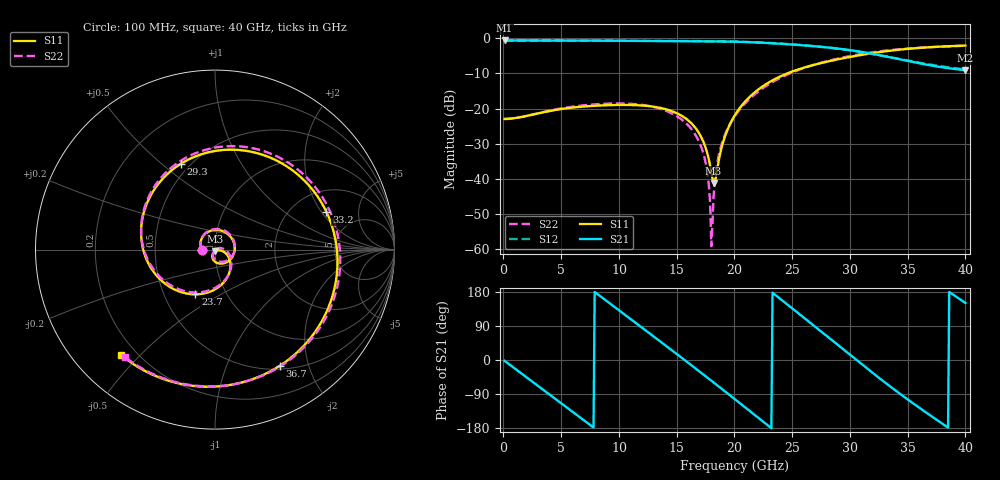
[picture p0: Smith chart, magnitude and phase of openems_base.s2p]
! A_s4_d300_ap600: L1→L4 through L2/L3, drill Ø0.3, antipad Ø0.6, 4 GND vias at 1 mm
! stackup: 4-layer 1.6 mm FR-4
! ports: 1, 2
! openEMS 0.37.0, staircase, base mesh (dfine 0.035 mm), 457125 cells
# Hz S RI R 50
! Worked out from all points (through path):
!   400 points, 100 MHz to 40 GHz, reference 50 ohm
!   highest |S21| = -0.64 dB at 100 MHz (marker M1); lowest = -9.1 dB at 40 GHz (marker M2)
!   group delay of S21, straight-line fit = 65.5 ps
!   lowest |S11| = -41.1 dB at 18.2 GHz (marker M3), VSWR 1.02, Z = 50.2 - j0.846 ohm
!   |S11| at or under -10 dB: start of sweep to 24.59 GHz
!   |S22| runs from -59.1 to -2.2 dB; largest |S21 - S12| = 0.01
!   S11 on the Smith chart (normalised r, x): 100 MHz: 0.87, +0.00; 23.7 GHz: 0.72, -0.39; 29.3 GHz: 0.45, +0.58; 33.2 GHz: 3.04, +2.23; 36.7 GHz: 0.55, -1.57; 40 GHz: 0.14, -0.44
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1e8  -0.0712 0.000483  0.928 -0.037  0.928 -0.037  -0.0709 0.000537
3.6e9  -0.0804 0.0397  0.127 -0.9187  0.1268 -0.9187  -0.0802 0.0417
6.8e9  -0.0334 0.101  -0.8397 -0.387  -0.8396 -0.3868  -0.0338 0.1052
8.6e9  0.025 0.1081  -0.8841 0.2619  -0.8839 0.2617  0.0244 0.1141
1.06e10  0.0899 0.0678  -0.425 0.814  -0.4255 0.8138  0.0898 0.0762
1.34e10  0.0922 -0.0471  0.5486 0.7292  0.5488 0.7306  0.0944 -0.0367
1.53e10  0.0236 -0.0777  0.8986 0.1417  0.9004 0.1421  0.0267 -0.0674
1.71e10  -0.0153 -0.0369  0.7586 -0.4974  0.7599 -0.4986  -0.0128 -0.0262
1.78e10  -0.0078 -0.0167  0.5841 -0.6918  0.585 -0.6932  -0.00558 -0.00529
1.8e10  -0.00316 -0.0121  0.5244 -0.7373  0.5252 -0.7387  -0.001 -0.000472
1.82e10  0.00246 -0.00841  0.4611 -0.7777  0.4618 -0.7791  0.00457 0.00351
1.88e10  0.0239 -0.00393  0.2536 -0.865  0.2541 -0.8665  0.026 0.00892
2.01e10  0.0739 -0.0386  -0.2293 -0.8621  -0.2292 -0.8645  0.0774 -0.0236
2.2e10  0.0553 -0.1743  -0.7586 -0.4232  -0.7622 -0.4257  0.0635 -0.1592
2.37e10  -0.1095 -0.2493  -0.8207 0.1751  -0.8259 0.1779  -0.0998 -0.2388
2.67e10  -0.4082 0.0423  -0.0676 0.7715  -0.0618 0.7742  -0.4067 0.0483
2.93e10  -0.1916 0.4773  0.6001 0.3623  0.5986 0.3579  -0.2024 0.4871
3.12e10  0.2365 0.5369  0.608 -0.1682  0.6048 -0.1647  0.2157 0.5637
3.32e10  0.6211 0.2092  0.247 -0.4881  0.2533 -0.485  0.6142 0.2655
3.34e10  0.6421 0.1592  0.2034 -0.4987  0.2104 -0.4967  0.6387 0.2176
3.67e10  0.3618 -0.6469  -0.3244 -0.2648  -0.3294 -0.2735  0.4138 -0.6161
4e10  -0.5218 -0.5879  -0.3057 0.1728  -0.3103 0.1816  -0.5032 -0.5968
